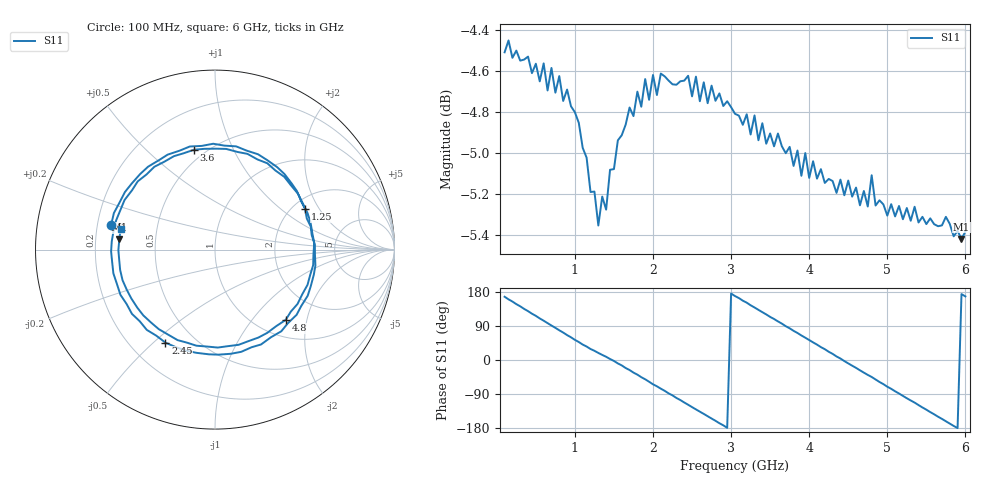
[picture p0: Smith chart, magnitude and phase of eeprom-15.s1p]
! Created with skrf 2.0.0 (http://scikit-rf.org).
# Hz S RI R 50.0
!freq ReS11 ImS11
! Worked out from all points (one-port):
!   119 points, 100 MHz to 6 GHz, reference 50 ohm
!   lowest |S11| = -5.4 dB at 5.95 GHz (marker M1), VSWR 3.31, Z = 15.1 + j2.41 ohm
!   |S11| at or under -10 dB: nowhere
!   S11 on the Smith chart (normalised r, x): 100 MHz: 0.26, +0.11; 1.25 GHz: 2.33, +1.51; 2.45 GHz: 0.35, -0.55; 3.6 GHz: 0.43, +0.71; 4.8 GHz: 1.33, -1.50; 6 GHz: 0.30, +0.10
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1e8  -0.5796 0.1346
3e8  -0.4645 0.3674
5e8  -0.2635 0.5292
7e8  -0.00975 0.5897
8.5e8  0.1749 0.552
1.05e9  0.3872 0.421
1.25e9  0.5016 0.2265
1.6e9  0.5505 -0.1401
1.8e9  0.4547 -0.3634
2e9  0.2564 -0.5286
2.15e9  0.088 -0.5804
2.35e9  -0.1582 -0.5636
2.45e9  -0.276 -0.5183
2.75e9  -0.5269 -0.2519
3.05e9  -0.5639 0.112
3.3e9  -0.4306 0.3801
3.6e9  -0.1169 0.5564
3.8e9  0.1259 0.544
3.95e9  0.2912 0.4811
4.15e9  0.4621 0.3116
4.4e9  0.5528 0.0374
4.55e9  0.5302 -0.1418
4.8e9  0.3942 -0.3913
5.05e9  0.1318 -0.5304
5.3e9  -0.1568 -0.5183
5.65e9  -0.466 -0.2726
5.95e9  -0.533 0.0567
6e9  -0.5261 0.1134
